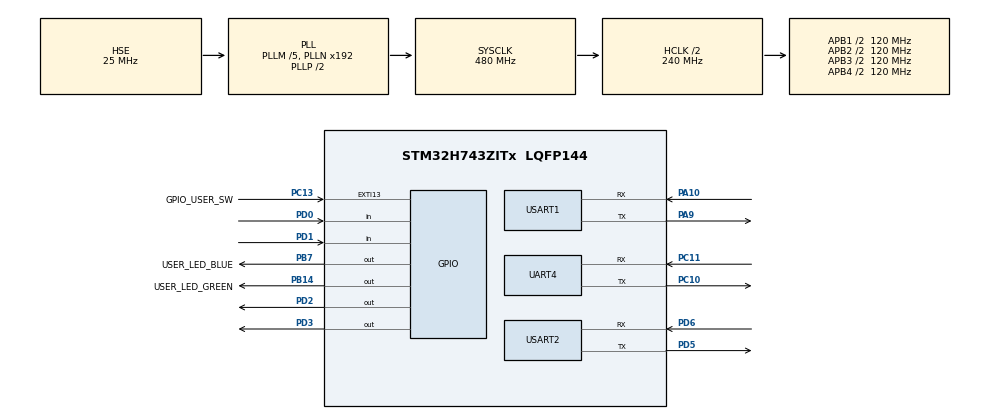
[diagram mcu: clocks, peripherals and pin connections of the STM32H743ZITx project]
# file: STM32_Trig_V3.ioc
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CORTEX_M7.default_mode_Activation=1
IWDG1.Prescaler=IWDG_PRESCALER_64
IWDG1.Reload=4000
IWDG1.Window=4000
Mcu.Family=STM32H7
Mcu.Name=STM32H743ZITx
Mcu.Package=LQFP144
NVIC.PriorityGroup=NVIC_PRIORITYGROUP_4
PA10.GPIO_Speed=GPIO_SPEED_FREQ_VERY_HIGH
PA10.Mode=Asynchronous
PA10.Signal=USART1_RX
PA13\ (JTMS/SWDIO).Signal=DEBUG_JTMS-SWDIO
PA14\ (JTCK/SWCLK).Signal=DEBUG_JTCK-SWCLK
PA9.GPIO_Speed=GPIO_SPEED_FREQ_VERY_HIGH
PA9.Mode=Asynchronous
PA9.Signal=USART1_TX
PB14.GPIO_Label=USER_LED_GREEN
PB14.Signal=GPIO_Output
PB7.GPIO_Label=USER_LED_BLUE
PB7.Signal=GPIO_Output
PC10.GPIO_Speed=GPIO_SPEED_FREQ_VERY_HIGH
PC10.Mode=Asynchronous
PC10.Signal=UART4_TX
PC11.GPIO_Speed=GPIO_SPEED_FREQ_VERY_HIGH
PC11.Mode=Asynchronous
PC11.Signal=UART4_RX
PC13.GPIO_Label=GPIO_USER_SW
PC13.Signal=GPXTI13
PD0.Signal=GPIO_Input
PD1.Signal=GPIO_Input
PD2.Signal=GPIO_Output
PD3.Signal=GPIO_Output
PD5.GPIO_Speed=GPIO_SPEED_FREQ_VERY_HIGH
PD5.Mode=Asynchronous
PD5.Signal=USART2_TX
PD6.GPIO_Speed=GPIO_SPEED_FREQ_VERY_HIGH
PD6.Mode=Asynchronous
PD6.Signal=USART2_RX
PD8.Signal=USART3_TX
PD9.Signal=USART3_RX
PH0-OSC_IN\ (PH0).Mode=HSE-External-Oscillator
PH0-OSC_IN\ (PH0).Signal=RCC_OSC_IN
PH1-OSC_OUT\ (PH1).Mode=HSE-External-Oscillator
PH1-OSC_OUT\ (PH1).Signal=RCC_OSC_OUT
ProjectManager.HeapSize=0x200
ProjectManager.StackSize=0x400
ProjectManager.TargetToolchain=STM32CubeIDE
RCC.ADCFreq_Value=50390625
RCC.APB1Freq_Value=120000000
RCC.APB2Freq_Value=120000000
RCC.APB3Freq_Value=120000000
RCC.APB4Freq_Value=120000000
RCC.CortexFreq_Value=480000000
RCC.D1PPRE=RCC_APB3_DIV2
RCC.D2PPRE1=RCC_APB1_DIV2
RCC.D2PPRE2=RCC_APB2_DIV2
RCC.D3PPRE=RCC_APB4_DIV2
RCC.DIVM1=5
RCC.DIVN1=192
RCC.HCLKFreq_Value=240000000
RCC.HPRE=RCC_HCLK_DIV2
RCC.HSE_VALUE=25000000
RCC.PLLFRACN=0
RCC.PLLSourceVirtual=RCC_PLLSOURCE_HSE
RCC.SYSCLKFreq_VALUE=480000000
RCC.SYSCLKSource=RCC_SYSCLKSOURCE_PLLCLK
RCC.USBFreq_Value=480000000
USART1.VirtualMode-Asynchronous=VM_ASYNC
USART2.VirtualMode-Asynchronous=VM_ASYNC
VP_IWDG1_VS_IWDG.Mode=IWDG_Activate
VP_MEMORYMAP_VS_MEMORYMAP.Mode=CurAppReg
board=custom

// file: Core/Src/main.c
/* USER CODE BEGIN Header */
/**
  ******************************************************************************
  * @file           : main.c
  * @brief          : LED blink @100us + printf test  (HSI 64 MHz)
  ******************************************************************************
  *
  *  TEST BUILD
  *  - SystemClock = HSI 64 MHz (no PLL, no HSE)
  *  - delay_us() uses DWT cycle counter + SystemCoreClock (auto-scales to clock)
  *  - LED PB7 / PB14 toggle every 100 us  -> 5 kHz square wave (check on scope)
  *  - printf over UART4 @115200 (SystemCoreClock feeds baud, so 64 MHz is fine)
  *
  *  If printf shows garbage: baud mismatch -> confirm terminal = 115200.
  *  If printf is silent:      wrong UART4 pins or _write not linked.
  ******************************************************************************
  */
/* USER CODE END Header */
#include "main.h"

/* USER CODE BEGIN Includes */
#include <stdio.h>
#include <string.h>
/* USER CODE END Includes */

IWDG_HandleTypeDef hiwdg1;

UART_HandleTypeDef huart4;
UART_HandleTypeDef huart1;
UART_HandleTypeDef huart2;

/* USER CODE BEGIN PV */
UART_HandleTypeDef *debug_uart;
/* USER CODE END PV */

void SystemClock_Config(void);
static void MPU_Config(void);
static void MX_GPIO_Init(void);
static void MX_IWDG1_Init(void);
static void MX_UART4_Init(void);
static void MX_USART1_UART_Init(void);
static void MX_USART2_UART_Init(void);
/* USER CODE BEGIN PFP */
void delay_us(uint32_t us);
/* USER CODE END PFP */

/* USER CODE BEGIN 0 */
void dwt_init(void)
{
    CoreDebug->DEMCR |= CoreDebug_DEMCR_TRCENA_Msk;
    DWT->CYCCNT = 0;
    DWT->CTRL |= DWT_CTRL_CYCCNTENA_Msk;
}

void delay_us(uint32_t us)
{
    uint32_t start = DWT->CYCCNT;
    uint32_t ticks = us * (SystemCoreClock / 1000000U);   /* auto-scales: 64 or 480 MHz */
    while ((DWT->CYCCNT - start) < ticks);
}
/* USER CODE END 0 */

int main(void)
{

  /* MPU Configuration--------------------------------------------------------*/
  MPU_Config();

  /* MCU Configuration--------------------------------------------------------*/

  /* Reset of all peripherals, Initializes the Flash interface and the Systick. */
  HAL_Init();

  /* USER CODE BEGIN Init */
  debug_uart = &huart4;
  /* USER CODE END Init */

  /* Configure the system clock */
  SystemClock_Config();

  /* USER CODE BEGIN SysInit */
  dwt_init();                 /* enable DWT cycle counter for delay_us */
  /* USER CODE END SysInit */

  /* Initialize all configured peripherals */
  MX_GPIO_Init();
  MX_IWDG1_Init();
  MX_UART4_Init();
  MX_USART1_UART_Init();
  MX_USART2_UART_Init();

  /* Infinite loop */
  /* USER CODE BEGIN WHILE */
  GPIO_PinState prev_d0 = GPIO_PIN_RESET, prev_d1 = GPIO_PIN_RESET;
  GPIO_PinState now_d0, now_d1;

  while (1)
  {
	    now_d0 = HAL_GPIO_ReadPin(GPIOD, GPIO_PIN_0);
	    now_d1 = HAL_GPIO_ReadPin(GPIOD, GPIO_PIN_1);

	    if (now_d0 == GPIO_PIN_SET && prev_d0 == GPIO_PIN_RESET)
	    {
	        delay_us(100);
	        HAL_GPIO_WritePin(GPIOD, GPIO_PIN_2, GPIO_PIN_SET);
	        delay_us(100);
	        HAL_GPIO_WritePin(GPIOD, GPIO_PIN_2, GPIO_PIN_RESET);
	    }

	    if (now_d1 == GPIO_PIN_SET && prev_d1 == GPIO_PIN_RESET)
	    {
	        delay_us(100);
	        HAL_GPIO_WritePin(GPIOD, GPIO_PIN_3, GPIO_PIN_SET);
	        delay_us(100);
	        HAL_GPIO_WritePin(GPIOD, GPIO_PIN_3, GPIO_PIN_RESET);
	    }

	    prev_d0 = now_d0;
	    prev_d1 = now_d1;

	    HAL_IWDG_Refresh(&hiwdg1);   /* กัน watchdog reset */
  }
    /* USER CODE END WHILE */
    /* USER CODE BEGIN 3 */
  }

void SystemClock_Config(void)
{
  RCC_OscInitTypeDef RCC_OscInitStruct = {0};
  RCC_ClkInitTypeDef RCC_ClkInitStruct = {0};

  /** Supply configuration update enable
  */
  HAL_PWREx_ConfigSupply(PWR_LDO_SUPPLY);

  /** Configure the main internal regulator output voltage
  */
  __HAL_PWR_VOLTAGESCALING_CONFIG(PWR_REGULATOR_VOLTAGE_SCALE0);

  while(!__HAL_PWR_GET_FLAG(PWR_FLAG_VOSRDY)) {}

  /** Initializes the RCC Oscillators according to the specified parameters
  * in the RCC_OscInitTypeDef structure.
  */
  RCC_OscInitStruct.OscillatorType = RCC_OSCILLATORTYPE_LSI|RCC_OSCILLATORTYPE_HSE;
  RCC_OscInitStruct.HSEState = RCC_HSE_ON;
  RCC_OscInitStruct.LSIState = RCC_LSI_ON;
  RCC_OscInitStruct.PLL.PLLState = RCC_PLL_ON;
  RCC_OscInitStruct.PLL.PLLSource = RCC_PLLSOURCE_HSE;
  RCC_OscInitStruct.PLL.PLLM = 5;
  RCC_OscInitStruct.PLL.PLLN = 192;
  RCC_OscInitStruct.PLL.PLLP = 2;
  RCC_OscInitStruct.PLL.PLLQ = 2;
  RCC_OscInitStruct.PLL.PLLR = 2;
  RCC_OscInitStruct.PLL.PLLRGE = RCC_PLL1VCIRANGE_2;
  RCC_OscInitStruct.PLL.PLLVCOSEL = RCC_PLL1VCOWIDE;
  RCC_OscInitStruct.PLL.PLLFRACN = 0;
  if (HAL_RCC_OscConfig(&RCC_OscInitStruct) != HAL_OK)
  {
    Error_Handler();
  }

  /** Initializes the CPU, AHB and APB buses clocks
  */
  RCC_ClkInitStruct.ClockType = RCC_CLOCKTYPE_HCLK|RCC_CLOCKTYPE_SYSCLK
                              |RCC_CLOCKTYPE_PCLK1|RCC_CLOCKTYPE_PCLK2
                              |RCC_CLOCKTYPE_D3PCLK1|RCC_CLOCKTYPE_D1PCLK1;
  RCC_ClkInitStruct.SYSCLKSource = RCC_SYSCLKSOURCE_PLLCLK;
  RCC_ClkInitStruct.SYSCLKDivider = RCC_SYSCLK_DIV1;
  RCC_ClkInitStruct.AHBCLKDivider = RCC_HCLK_DIV2;
  RCC_ClkInitStruct.APB3CLKDivider = RCC_APB3_DIV2;
  RCC_ClkInitStruct.APB1CLKDivider = RCC_APB1_DIV2;
  RCC_ClkInitStruct.APB2CLKDivider = RCC_APB2_DIV2;
  RCC_ClkInitStruct.APB4CLKDivider = RCC_APB4_DIV2;

  if (HAL_RCC_ClockConfig(&RCC_ClkInitStruct, FLASH_LATENCY_4) != HAL_OK)
  {
    Error_Handler();
  }
}

static void MX_IWDG1_Init(void)
{

  hiwdg1.Instance = IWDG1;
  hiwdg1.Init.Prescaler = IWDG_PRESCALER_64;
  hiwdg1.Init.Window = 4000;
  hiwdg1.Init.Reload = 4000;
  if (HAL_IWDG_Init(&hiwdg1) != HAL_OK)
  {
    Error_Handler();
  }

}

static void MX_UART4_Init(void)
{

  huart4.Instance = UART4;
  huart4.Init.BaudRate = 115200;
  huart4.Init.WordLength = UART_WORDLENGTH_8B;
  huart4.Init.StopBits = UART_STOPBITS_1;
  huart4.Init.Parity = UART_PARITY_NONE;
  huart4.Init.Mode = UART_MODE_TX_RX;
  huart4.Init.HwFlowCtl = UART_HWCONTROL_NONE;
  huart4.Init.OverSampling = UART_OVERSAMPLING_16;
  huart4.Init.OneBitSampling = UART_ONE_BIT_SAMPLE_DISABLE;
  huart4.Init.ClockPrescaler = UART_PRESCALER_DIV1;
  huart4.AdvancedInit.AdvFeatureInit = UART_ADVFEATURE_NO_INIT;
  if (HAL_UART_Init(&huart4) != HAL_OK)
  {
    Error_Handler();
  }
  if (HAL_UARTEx_SetTxFifoThreshold(&huart4, UART_TXFIFO_THRESHOLD_1_8) != HAL_OK)
  {
    Error_Handler();
  }
  if (HAL_UARTEx_SetRxFifoThreshold(&huart4, UART_RXFIFO_THRESHOLD_1_8) != HAL_OK)
  {
    Error_Handler();
  }
  if (HAL_UARTEx_DisableFifoMode(&huart4) != HAL_OK)
  {
    Error_Handler();
  }

}

static void MX_USART1_UART_Init(void)
{

  huart1.Instance = USART1;
  huart1.Init.BaudRate = 115200;
  huart1.Init.WordLength = UART_WORDLENGTH_8B;
  huart1.Init.StopBits = UART_STOPBITS_1;
  huart1.Init.Parity = UART_PARITY_NONE;
  huart1.Init.Mode = UART_MODE_TX_RX;
  huart1.Init.HwFlowCtl = UART_HWCONTROL_NONE;
  huart1.Init.OverSampling = UART_OVERSAMPLING_16;
  huart1.Init.OneBitSampling = UART_ONE_BIT_SAMPLE_DISABLE;
  huart1.Init.ClockPrescaler = UART_PRESCALER_DIV1;
  huart1.AdvancedInit.AdvFeatureInit = UART_ADVFEATURE_NO_INIT;
  if (HAL_UART_Init(&huart1) != HAL_OK)
  {
    Error_Handler();
  }
  if (HAL_UARTEx_SetTxFifoThreshold(&huart1, UART_TXFIFO_THRESHOLD_1_8) != HAL_OK)
  {
    Error_Handler();
  }
  if (HAL_UARTEx_SetRxFifoThreshold(&huart1, UART_RXFIFO_THRESHOLD_1_8) != HAL_OK)
  {
    Error_Handler();
  }
  if (HAL_UARTEx_DisableFifoMode(&huart1) != HAL_OK)
  {
    Error_Handler();
  }

}

static void MX_USART2_UART_Init(void)
{

  huart2.Instance = USART2;
  huart2.Init.BaudRate = 115200;
  huart2.Init.WordLength = UART_WORDLENGTH_8B;
  huart2.Init.StopBits = UART_STOPBITS_1;
  huart2.Init.Parity = UART_PARITY_NONE;
  huart2.Init.Mode = UART_MODE_TX_RX;
  huart2.Init.HwFlowCtl = UART_HWCONTROL_NONE;
  huart2.Init.OverSampling = UART_OVERSAMPLING_16;
  huart2.Init.OneBitSampling = UART_ONE_BIT_SAMPLE_DISABLE;
  huart2.Init.ClockPrescaler = UART_PRESCALER_DIV1;
  huart2.AdvancedInit.AdvFeatureInit = UART_ADVFEATURE_NO_INIT;
  if (HAL_UART_Init(&huart2) != HAL_OK)
  {
    Error_Handler();
  }
  if (HAL_UARTEx_SetTxFifoThreshold(&huart2, UART_TXFIFO_THRESHOLD_1_8) != HAL_OK)
  {
    Error_Handler();
  }
  if (HAL_UARTEx_SetRxFifoThreshold(&huart2, UART_RXFIFO_THRESHOLD_1_8) != HAL_OK)
  {
    Error_Handler();
  }
  if (HAL_UARTEx_DisableFifoMode(&huart2) != HAL_OK)
  {
    Error_Handler();
  }

}

static void MX_GPIO_Init(void)
{
  GPIO_InitTypeDef GPIO_InitStruct = {0};

  /* GPIO Ports Clock Enable */
  __HAL_RCC_GPIOC_CLK_ENABLE();
  __HAL_RCC_GPIOH_CLK_ENABLE();
  __HAL_RCC_GPIOB_CLK_ENABLE();
  __HAL_RCC_GPIOD_CLK_ENABLE();
  __HAL_RCC_GPIOA_CLK_ENABLE();

  /*Configure GPIO pin Output Level */
  HAL_GPIO_WritePin(GPIOB, USER_LED_GREEN_Pin|USER_LED_BLUE_Pin, GPIO_PIN_RESET);

  /*Configure GPIO pin Output Level */
  HAL_GPIO_WritePin(GPIOD, GPIO_PIN_2|GPIO_PIN_3, GPIO_PIN_RESET);

  /*Configure GPIO pin : GPIO_USER_SW_Pin */
  GPIO_InitStruct.Pin = GPIO_USER_SW_Pin;
  GPIO_InitStruct.Mode = GPIO_MODE_IT_RISING;
  GPIO_InitStruct.Pull = GPIO_NOPULL;
  HAL_GPIO_Init(GPIO_USER_SW_GPIO_Port, &GPIO_InitStruct);

  /*Configure GPIO pins : USER_LED_GREEN_Pin USER_LED_BLUE_Pin */
  GPIO_InitStruct.Pin = USER_LED_GREEN_Pin|USER_LED_BLUE_Pin;
  GPIO_InitStruct.Mode = GPIO_MODE_OUTPUT_PP;
  GPIO_InitStruct.Pull = GPIO_NOPULL;
  GPIO_InitStruct.Speed = GPIO_SPEED_FREQ_LOW;
  HAL_GPIO_Init(GPIOB, &GPIO_InitStruct);

  /*Configure GPIO pins : PD8 PD9 */
  GPIO_InitStruct.Pin = GPIO_PIN_8|GPIO_PIN_9;
  GPIO_InitStruct.Mode = GPIO_MODE_AF_PP;
  GPIO_InitStruct.Pull = GPIO_NOPULL;
  GPIO_InitStruct.Speed = GPIO_SPEED_FREQ_LOW;
  GPIO_InitStruct.Alternate = GPIO_AF7_USART3;
  HAL_GPIO_Init(GPIOD, &GPIO_InitStruct);

  /*Configure GPIO pins : PD0 PD1 */
  GPIO_InitStruct.Pin = GPIO_PIN_0|GPIO_PIN_1;
  GPIO_InitStruct.Mode = GPIO_MODE_INPUT;
  GPIO_InitStruct.Pull = GPIO_NOPULL;
  HAL_GPIO_Init(GPIOD, &GPIO_InitStruct);

  /*Configure GPIO pins : PD2 PD3 */
  GPIO_InitStruct.Pin = GPIO_PIN_2|GPIO_PIN_3;
  GPIO_InitStruct.Mode = GPIO_MODE_OUTPUT_PP;
  GPIO_InitStruct.Pull = GPIO_NOPULL;
  GPIO_InitStruct.Speed = GPIO_SPEED_FREQ_VERY_HIGH;
  HAL_GPIO_Init(GPIOD, &GPIO_InitStruct);

}

/* USER CODE BEGIN 4 */
int _write(int file, char *ptr, int len)
{
    HAL_UART_Transmit(debug_uart, (uint8_t *)ptr, len, HAL_MAX_DELAY);
    return len;
}
/* USER CODE END 4 */

 /* MPU Configuration */

void MPU_Config(void)
{
  MPU_Region_InitTypeDef MPU_InitStruct = {0};

  /* Disables the MPU */
  HAL_MPU_Disable();

  /** Initializes and configures the Region and the memory to be protected
  */
  MPU_InitStruct.Enable = MPU_REGION_ENABLE;
  MPU_InitStruct.Number = MPU_REGION_NUMBER0;
  MPU_InitStruct.BaseAddress = 0x0;
  MPU_InitStruct.Size = MPU_REGION_SIZE_4GB;
  MPU_InitStruct.SubRegionDisable = 0x87;
  MPU_InitStruct.TypeExtField = MPU_TEX_LEVEL0;
  MPU_InitStruct.AccessPermission = MPU_REGION_NO_ACCESS;
  MPU_InitStruct.DisableExec = MPU_INSTRUCTION_ACCESS_DISABLE;
  MPU_InitStruct.IsShareable = MPU_ACCESS_SHAREABLE;
  MPU_InitStruct.IsCacheable = MPU_ACCESS_NOT_CACHEABLE;
  MPU_InitStruct.IsBufferable = MPU_ACCESS_NOT_BUFFERABLE;

  HAL_MPU_ConfigRegion(&MPU_InitStruct);
  /* Enables the MPU */
  HAL_MPU_Enable(MPU_PRIVILEGED_DEFAULT);

}

void Error_Handler(void)
{
  __disable_irq();
  while (1)
  {
  }
}
